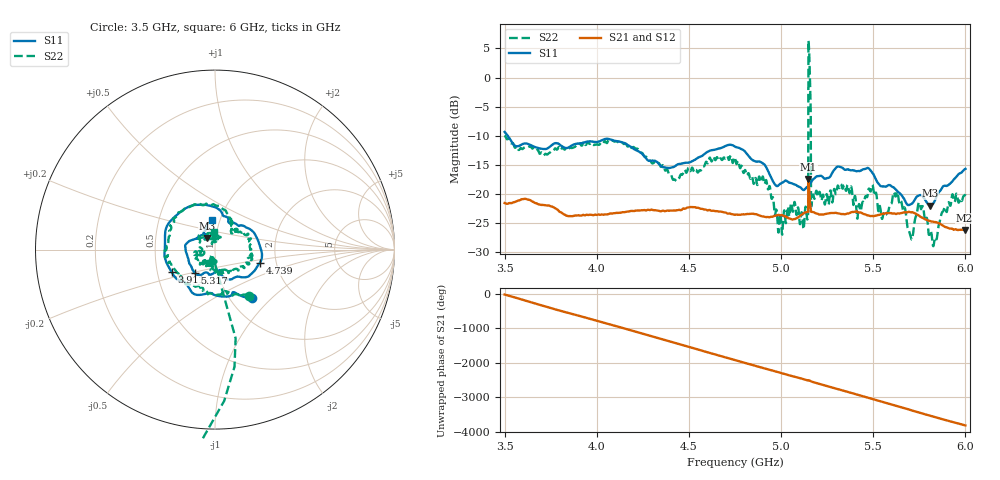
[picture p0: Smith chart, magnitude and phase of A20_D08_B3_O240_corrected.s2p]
! Created with skrf 1.9.0 (http://scikit-rf.org).
# Hz S RI R 50.0
!freq ReS11 ImS11 ReS21 ImS21 ReS12 ImS12 ReS22 ImS22
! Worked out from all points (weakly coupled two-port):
!   1601 points, 3.5 GHz to 6 GHz, reference 50 ohm
!   highest |S21| = -17.42 dB at 5.148 GHz (marker M1); lowest = -26.2 dB at 5.995 GHz (marker M2)
!   lowest |S11| = -22.0 dB at 5.808 GHz (marker M3), VSWR 1.17, Z = 45.3 + j5.97 ohm
!   |S11| at or under -10 dB: 3.517 GHz to end of sweep
!   |S22| runs from -29.0 to 6.4 dB; largest |S21 - S12| = 0.0011
!   S11 on the Smith chart (normalised r, x): 3.5 GHz: 1.26, -0.77; 3.911 GHz: 0.59, -0.16; 4.739 GHz: 1.65, -0.26; 5.317 GHz: 0.78, -0.21; 6 GHz: 0.92, +0.31
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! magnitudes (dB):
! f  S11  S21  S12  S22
! 3.5 GHz  -9.3  -21.6  -21.5  -9.9
! 3.911 GHz  -11.3  -23.7  -23.7  -11.4
! 3.917 GHz  -11.3  -23.7  -23.7  -11.7
! 4.334 GHz  -14.8  -22.9  -22.8  -14.7
! 4.739 GHz  -11.7  -23.5  -23.5  -14.6
! 4.75 GHz  -11.9  -23.6  -23.5  -13.8
! 4.911 GHz  -15.0  -23.9  -23.9  -18.3
! 4.995 GHz  -18.2  -23.6  -23.6  -23.4
! 5.114 GHz  -19.2  -23.5  -23.5  -23.4
! 5.134 GHz  -19.0  -23.1  -23.1  -22.3
! 5.148 GHz  -18.6  -17.4  -17.4  6.4
! 5.161 GHz  -18.1  -22.6  -22.6  -5.9
! 5.167 GHz  -17.7  -23.1  -23.1  -21.4
! 5.175 GHz  -17.5  -23.1  -23.1  -20.2
! 5.317 GHz  -15.3  -23.4  -23.4  -18.9
! 5.584 GHz  -18.5  -23.3  -23.3  -22.6
! 5.623 GHz  -19.2  -23.4  -23.4  -20.3
! 5.706 GHz  -21.7  -23.2  -23.1  -27.7
! 5.758 GHz  -20.2  -23.9  -23.9  -22.4
! 5.808 GHz  -22.0  -24.6  -24.6  -26.7
! 5.995 GHz  -15.8  -26.2  -26.1  -20.2
! 6 GHz  -15.7  -26.2  -26.1  -20.0
